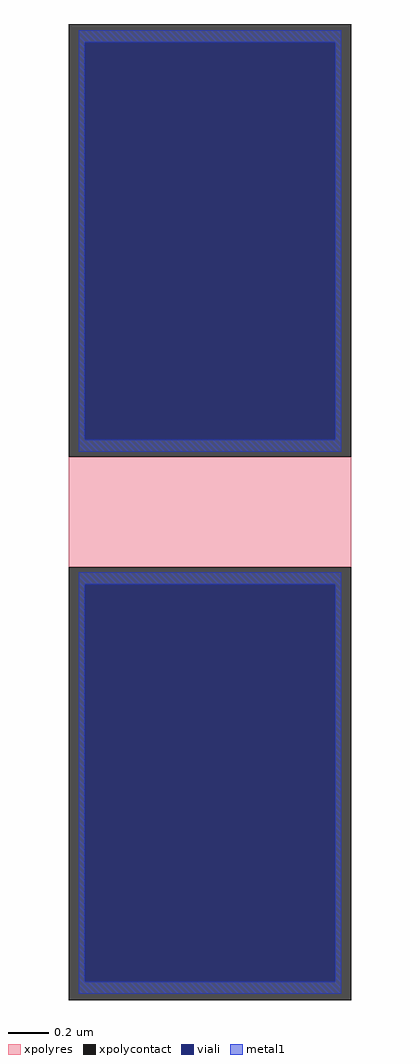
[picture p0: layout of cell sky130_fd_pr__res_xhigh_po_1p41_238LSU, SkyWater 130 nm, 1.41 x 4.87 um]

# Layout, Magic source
magic
tech sky130A
magscale 1 2
<< xpolycontact >>
rect -141 55 141 487
rect -141 -487 141 -55
<< xpolyres >>
rect -141 -55 141 55
<< viali >>
rect -125 72 125 469
rect -125 -469 125 -72
<< metal1 >>
rect -131 469 131 481
rect -131 72 -125 469
rect 125 72 131 469
rect -131 60 131 72
rect -131 -72 131 -60
rect -131 -469 -125 -72
rect 125 -469 131 -72
rect -131 -481 131 -469
<< properties >>
string gencell sky130_fd_pr__res_xhigh_po_1p41
string library sky130
string parameters w 1.410 l 0.707 m 1 nx 1 wmin 1.410 lmin 0.50 rho 2000 val 1.269k dummy 0 dw 0.0 term 188.2 sterm 0.0 caplen 0 wmax 1.410 guard 0 glc 1 grc 1 gtc 1 gbc 1 compatible {sky130_fd_pr__res_xhigh_po_0p35  sky130_fd_pr__res_xhigh_po_0p69 sky130_fd_pr__res_xhigh_po_1p41  sky130_fd_pr__res_xhigh_po_2p85 sky130_fd_pr__res_xhigh_po_5p73} snake 0 full_metal 1 n_guard 0 hv_guard 0 vias 1 viagb 0 viagt 0 viagl 0 viagr 0
<< end >>
